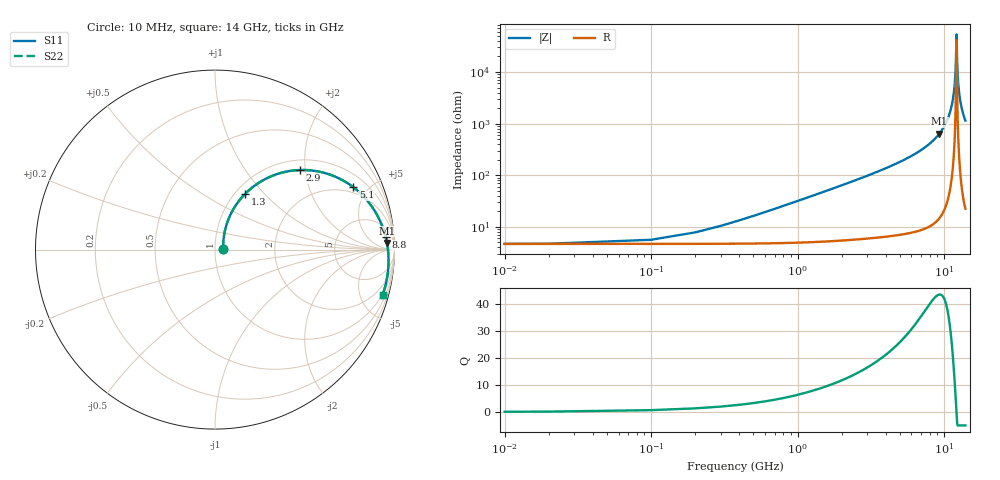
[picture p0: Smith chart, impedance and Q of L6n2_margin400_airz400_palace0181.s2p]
! Created with skrf 2.2.0 (http://scikit-rf.org).
# GHz S DB R 50.0
! Port[1] = P1
! Port[2] = P2
!freq dBS11 angS11 dBS21 angS21 dBS12 angS12 dBS22 angS22
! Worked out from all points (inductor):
!   142 points, 10 MHz to 14 GHz, reference 50 ohm
!   read as one part in series: L = 4.97 nH near 500 MHz
!   highest Q = 43.5 at 9.3 GHz (marker M1), where L = 11 nH
!   self-resonance near 12.1 GHz
!   S11 on the Smith chart (normalised r, x): 10 MHz: 1.09, +0.01; 1.3 GHz: 1.11, +0.78; 2.9 GHz: 1.22, +1.86; 5.1 GHz: 1.64, +4.00; 8.8 GHz: 12, +19; 14 GHz: 0.96, -7.48
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0.01  -26.97 3.3  -0.40 -0.2  -0.40 -0.2  -26.97 3.3
0.6  -15.32 65.9  -0.58 -10.8  -0.58 -10.8  -15.32 65.9
1.3  -9.10 61.7  -1.11 -22.3  -1.11 -22.3  -9.11 61.7
2.4  -4.85 48.7  -2.40 -37.8  -2.40 -37.8  -4.86 48.7
2.9  -3.78 43.3  -3.11 -43.8  -3.11 -43.8  -3.78 43.3
4.7  -1.72 27.2  -6.03 -60.8  -6.03 -60.8  -1.72 27.2
5.1  -1.46 24.4  -6.74 -63.8  -6.74 -63.8  -1.47 24.3
7.1  -0.71 12.4  -10.65 -76.2  -10.65 -76.2  -0.71 12.4
8.8  -0.42 4.3  -14.89 -84.4  -14.89 -84.4  -0.42 4.3
9.3  -0.37 2.2  -16.46 -86.5  -16.46 -86.5  -0.37 2.2
9.4  -0.36 1.8  -16.80 -86.9  -16.80 -86.9  -0.36 1.8
10.9  -0.27 -4.1  -24.00 -92.3  -24.00 -92.3  -0.27 -4.1
11.4  -0.26 -6.0  -28.45 -93.4  -28.45 -93.4  -0.26 -6.0
11.7  -0.25 -7.0  -32.76 -93.1  -32.76 -93.1  -0.25 -7.1
11.9  -0.25 -7.8  -37.51 -91.3  -37.51 -91.3  -0.25 -7.8
12  -0.25 -8.1  -41.37 -88.3  -41.37 -88.3  -0.25 -8.1
12.2  -0.25 -8.8  -54.83 30.5  -54.83 30.5  -0.25 -8.8
12.3  -0.25 -9.2  -44.36 67.7  -44.36 67.7  -0.25 -9.2
12.4  -0.25 -9.5  -39.41 73.2  -39.41 73.2  -0.25 -9.5
12.6  -0.25 -10.2  -33.97 76.0  -33.97 76.0  -0.25 -10.2
13.1  -0.26 -12.0  -27.32 76.4  -27.32 76.4  -0.26 -12.0
14  -0.29 -15.0  -21.58 74.1  -21.58 74.1  -0.29 -15.0
